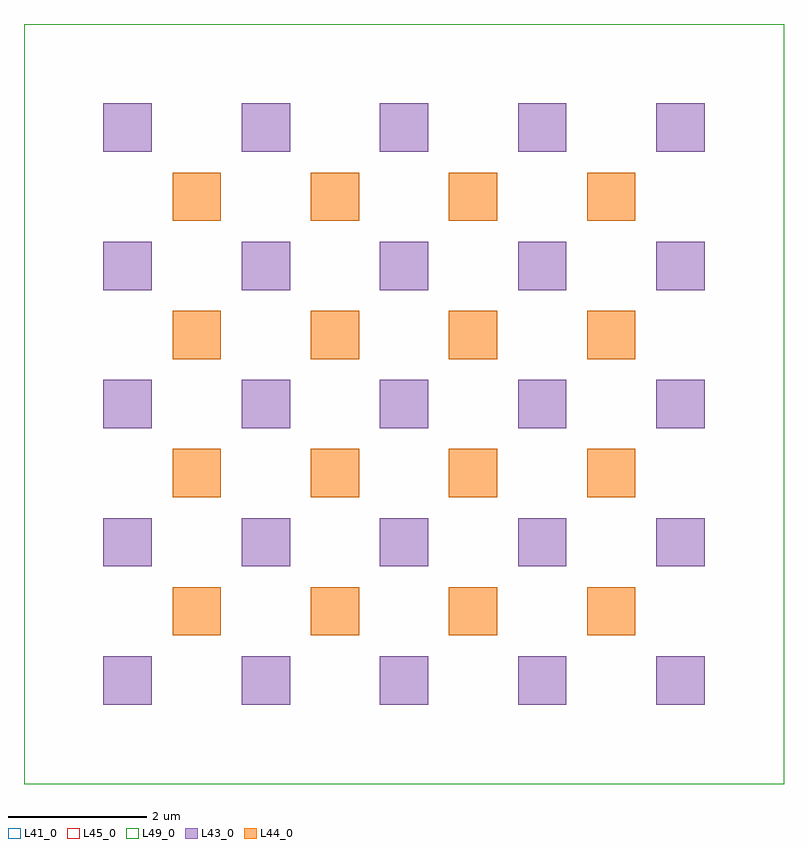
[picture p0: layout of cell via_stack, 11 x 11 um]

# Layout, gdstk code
import gdstk
lib = gdstk.Library(unit=1e-6, precision=1e-09)
def R(c, l, rs):  # rectangles x0, y0, x1, y1
    for r in rs: c.add(gdstk.rectangle(r[:2], r[2:], *l))
L41_0 = (41, 0)
L43_0 = (43, 0)
L44_0 = (44, 0)
L45_0 = (45, 0)
L49_0 = (49, 0)

rectangle_layer41_0_size = lib.new_cell('rectangle_layer41_0_size11_11')
R(rectangle_layer41_0_size, L41_0, [(0,0,11,11)])

compass_layer41_0_size11 = lib.new_cell('compass_layer41_0_size11_11')
compass_layer41_0_size11.add(gdstk.Reference(rectangle_layer41_0_size, (-5.5,-5.5)))

rectangle_layer45_0_size = lib.new_cell('rectangle_layer45_0_size11_11')
R(rectangle_layer45_0_size, L45_0, [(0,0,11,11)])

compass_layer45_0_size11 = lib.new_cell('compass_layer45_0_size11_11')
compass_layer45_0_size11.add(gdstk.Reference(rectangle_layer45_0_size, (-5.5,-5.5)))

rectangle_layer49_0_size = lib.new_cell('rectangle_layer49_0_size11_11')
R(rectangle_layer49_0_size, L49_0, [(0,0,11,11)])

compass_layer49_0_size11 = lib.new_cell('compass_layer49_0_size11_11')
compass_layer49_0_size11.add(gdstk.Reference(rectangle_layer49_0_size, (-5.5,-5.5)))

via_enclosure2_layer44_0 = lib.new_cell('via_enclosure2_layer44_0')
R(via_enclosure2_layer44_0, L44_0, [(-0.35,-0.35,0.35,0.35)])

via_layer43_0 = lib.new_cell('via_layer43_0')
R(via_layer43_0, L43_0, [(-0.35,-0.35,0.35,0.35)])

via_stack = lib.new_cell('via_stack')
via_stack.add(gdstk.Reference(compass_layer41_0_size11, (0,0)))
via_stack.add(gdstk.Reference(compass_layer45_0_size11, (0,0)))
via_stack.add(gdstk.Reference(compass_layer49_0_size11, (0,0)))
r = gdstk.Reference(via_enclosure2_layer44_0, (-3,-3)); r.repetition = gdstk.Repetition(4, 4, v1=(2,0), v2=(0,2)); via_stack.add(r)
r = gdstk.Reference(via_layer43_0, (-4,-4)); r.repetition = gdstk.Repetition(5, 5, v1=(2,0), v2=(0,2)); via_stack.add(r)

lib.write_gds('via_stack.gds')
